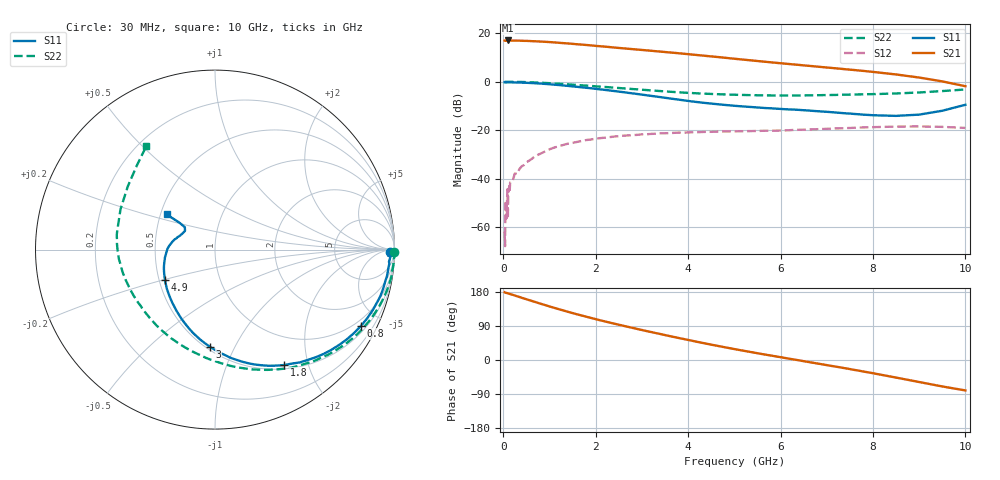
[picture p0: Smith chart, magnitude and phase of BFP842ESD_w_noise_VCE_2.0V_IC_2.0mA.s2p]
! Infineon Technologies  Discrete & RF Semiconductors
! BFP842ESD
! VCE =  2.0 V,  IC =  2.0 mA
! Common Emitter S-Parameters:  May 2012
# GHz  S  MA  R  50
!  f  S11  S21  S12  S22
! GHz  MAG  ANG  MAG  ANG  MAG  ANG  MAG  ANG
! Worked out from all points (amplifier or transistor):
!   99 points, 30 MHz to 10 GHz, reference 50 ohm
!   highest |S21| = 17.1 dB at 110 MHz (marker M1)
!   |S21| within 3 dB of that: start of sweep to 2.446 GHz
!   unconditionally stable (mu >= 1): 4.336 GHz to end of sweep
!   at 350 MHz: K = 0.05, MSG = 26.5 dB, |S12| = -36.1 dB
!   at 3.5 GHz: K = 0.80, MSG = 16.8 dB, |S12| = -21.3 dB
!   at 10 GHz: K = 2.46, MAG = 1.9 dB, |S12| = -19.1 dB
!   lowest NFmin = 0.35 dB at 450 MHz
!   S11 on the Smith chart (normalised r, x): 30 MHz: 59, -31; 800 MHz: 0.73, -3.94; 1.8 GHz: 0.55, -1.63; 3 GHz: 0.52, -0.80; 4.9 GHz: 0.54, -0.20; 10 GHz: 0.54, +0.24
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0.03  0.9737 -0.8  7.081 178.8  0.0008 97.6  0.9994 -0.7
0.04  0.9761 -1.3  7.05 178.2  0.0004 9.1  0.9991 -1.0
0.05  0.9697 -1.6  7.013 177.5  0.0035 139.7  0.9959 -1.4
0.06  0.9669 -2.1  7.133 177.3  0.0034 107.2  1 -1.8
0.07  0.9781 -2.1  7.07 177.0  0.0015 55.1  0.9974 -1.9
0.09  0.9742 -3.3  6.989 176.5  0.006 69.0  1 -2.4
0.1  0.9755 -3.4  7.06 176.1  0.0015 76.3  0.9984 -2.8
0.11  0.9713 -4.0  7.134 175.4  0.0055 72.9  0.9983 -3.0
0.5  0.9518 -17.4  6.998 160.4  0.0215 77.4  0.9824 -14.2
0.8  0.9178 -27.6  6.768 148.8  0.0324 67.6  0.9554 -22.6
1.2  0.8554 -40.8  6.393 134.2  0.0465 57.7  0.9096 -33.3
1.7  0.7655 -56.1  5.854 117.3  0.0599 46.7  0.8432 -45.7
1.8  0.7501 -59.0  5.753 114.2  0.0625 44.9  0.8321 -48.1
2.3  0.6604 -73.6  5.21 98.8  0.0716 34.9  0.7682 -59.7
3  0.5424 -93.0  4.539 79.2  0.0819 24.6  0.6847 -75.5
3.4  0.4813 -104.5  4.2 68.5  0.086 18.8  0.6418 -84.9
4.1  0.3902 -125.5  3.638 50.4  0.0904 10.4  0.583 -101.9
4.9  0.3251 -149.1  3.057 31.2  0.0941 2.5  0.5422 -121.0
5.1  0.3131 -154.7  2.926 26.6  0.0948 0.6  0.5361 -125.6
6.7  0.2501 173.1  2.097 -7.2  0.1039 -11.8  0.5254 -160.9
8.5  0.1971 147.9  1.414 -46.4  0.1183 -33.0  0.5724 156.9
10  0.334 144.0  0.809 -80.3  0.1111 -58.8  0.6923 123.5
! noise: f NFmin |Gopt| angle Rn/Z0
0.45  0.35  0.77  2  0.27
0.9  0.37  0.74  10  0.25
1.5  0.41  0.67  29  0.22
1.9  0.43  0.65  37  0.2
2.4  0.49  0.63  49  0.18
3.5  0.65  0.5  82  0.13
4  0.73  0.45  102  0.11
5  0.87  0.42  123  0.07
5.5  1.01  0.41  138  0.07
6  1.25  0.38  155  0.07
